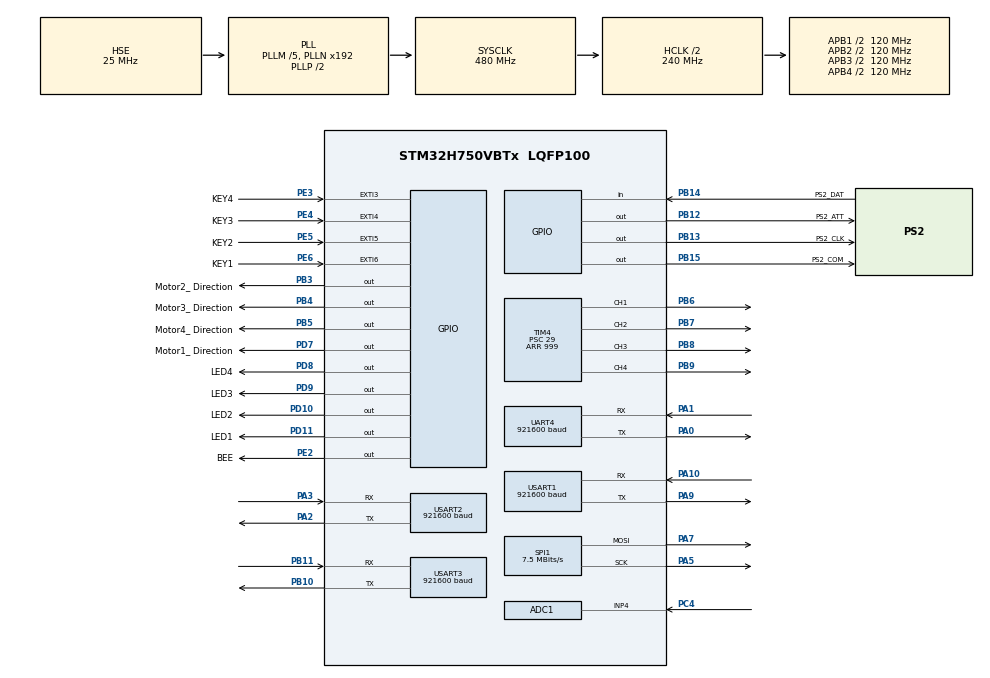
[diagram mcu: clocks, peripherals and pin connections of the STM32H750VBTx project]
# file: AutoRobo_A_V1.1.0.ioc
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ADC1.Channel-0\#ChannelRegularConversion=ADC_CHANNEL_4
ADC1.NbrOfConversionFlag=1
ADC1.OffsetNumber-0\#ChannelRegularConversion=ADC_OFFSET_NONE
ADC1.Rank-0\#ChannelRegularConversion=1
ADC1.SamplingTime-0\#ChannelRegularConversion=ADC_SAMPLETIME_1CYCLE_5
ADC1.master=1
Dma.Request0=USART2_RX
Dma.Request1=USART3_RX
Dma.Request2=USART3_TX
Dma.Request3=USART1_RX
Dma.Request4=USART1_TX
Dma.Request5=UART4_RX
Dma.UART4_RX.5.Direction=DMA_PERIPH_TO_MEMORY
Dma.UART4_RX.5.EventEnable=DISABLE
Dma.UART4_RX.5.FIFOMode=DMA_FIFOMODE_DISABLE
Dma.UART4_RX.5.Instance=DMA1_Stream2
Dma.UART4_RX.5.MemDataAlignment=DMA_MDATAALIGN_BYTE
Dma.UART4_RX.5.MemInc=DMA_MINC_ENABLE
Dma.UART4_RX.5.Mode=DMA_NORMAL
Dma.UART4_RX.5.PeriphDataAlignment=DMA_PDATAALIGN_BYTE
Dma.UART4_RX.5.PeriphInc=DMA_PINC_DISABLE
Dma.UART4_RX.5.Polarity=HAL_DMAMUX_REQ_GEN_RISING
Dma.UART4_RX.5.Priority=DMA_PRIORITY_LOW
Dma.UART4_RX.5.RequestNumber=1
Dma.UART4_RX.5.SignalID=NONE
Dma.UART4_RX.5.SyncEnable=DISABLE
Dma.UART4_RX.5.SyncPolarity=HAL_DMAMUX_SYNC_NO_EVENT
Dma.UART4_RX.5.SyncRequestNumber=1
Dma.UART4_RX.5.SyncSignalID=NONE
Dma.USART1_RX.3.Direction=DMA_PERIPH_TO_MEMORY
Dma.USART1_RX.3.EventEnable=DISABLE
Dma.USART1_RX.3.FIFOMode=DMA_FIFOMODE_DISABLE
Dma.USART1_RX.3.Instance=DMA2_Stream5
Dma.USART1_RX.3.MemDataAlignment=DMA_MDATAALIGN_BYTE
Dma.USART1_RX.3.MemInc=DMA_MINC_ENABLE
Dma.USART1_RX.3.Mode=DMA_NORMAL
Dma.USART1_RX.3.PeriphDataAlignment=DMA_PDATAALIGN_BYTE
Dma.USART1_RX.3.PeriphInc=DMA_PINC_DISABLE
Dma.USART1_RX.3.Polarity=HAL_DMAMUX_REQ_GEN_RISING
Dma.USART1_RX.3.Priority=DMA_PRIORITY_LOW
Dma.USART1_RX.3.RequestNumber=1
Dma.USART1_RX.3.SignalID=NONE
Dma.USART1_RX.3.SyncEnable=DISABLE
Dma.USART1_RX.3.SyncPolarity=HAL_DMAMUX_SYNC_NO_EVENT
Dma.USART1_RX.3.SyncRequestNumber=1
Dma.USART1_RX.3.SyncSignalID=NONE
Dma.USART1_TX.4.Direction=DMA_MEMORY_TO_PERIPH
Dma.USART1_TX.4.EventEnable=DISABLE
Dma.USART1_TX.4.FIFOMode=DMA_FIFOMODE_DISABLE
Dma.USART1_TX.4.Instance=DMA2_Stream7
Dma.USART1_TX.4.MemDataAlignment=DMA_MDATAALIGN_BYTE
Dma.USART1_TX.4.MemInc=DMA_MINC_ENABLE
Dma.USART1_TX.4.Mode=DMA_NORMAL
Dma.USART1_TX.4.PeriphDataAlignment=DMA_PDATAALIGN_BYTE
Dma.USART1_TX.4.PeriphInc=DMA_PINC_DISABLE
Dma.USART1_TX.4.Polarity=HAL_DMAMUX_REQ_GEN_RISING
Dma.USART1_TX.4.Priority=DMA_PRIORITY_LOW
Dma.USART1_TX.4.RequestNumber=1
Dma.USART1_TX.4.SignalID=NONE
Dma.USART1_TX.4.SyncEnable=DISABLE
Dma.USART1_TX.4.SyncPolarity=HAL_DMAMUX_SYNC_NO_EVENT
Dma.USART1_TX.4.SyncRequestNumber=1
Dma.USART1_TX.4.SyncSignalID=NONE
Dma.USART2_RX.0.Direction=DMA_PERIPH_TO_MEMORY
Dma.USART2_RX.0.EventEnable=DISABLE
Dma.USART2_RX.0.FIFOMode=DMA_FIFOMODE_DISABLE
Dma.USART2_RX.0.Instance=DMA1_Stream5
Dma.USART2_RX.0.MemDataAlignment=DMA_MDATAALIGN_BYTE
Dma.USART2_RX.0.MemInc=DMA_MINC_ENABLE
Dma.USART2_RX.0.Mode=DMA_NORMAL
Dma.USART2_RX.0.PeriphDataAlignment=DMA_PDATAALIGN_BYTE
Dma.USART2_RX.0.PeriphInc=DMA_PINC_DISABLE
Dma.USART2_RX.0.Polarity=HAL_DMAMUX_REQ_GEN_RISING
Dma.USART2_RX.0.Priority=DMA_PRIORITY_LOW
Dma.USART2_RX.0.RequestNumber=1
Dma.USART2_RX.0.SignalID=NONE
Dma.USART2_RX.0.SyncEnable=DISABLE
Dma.USART2_RX.0.SyncPolarity=HAL_DMAMUX_SYNC_NO_EVENT
Dma.USART2_RX.0.SyncRequestNumber=1
Dma.USART2_RX.0.SyncSignalID=NONE
Dma.USART3_RX.1.Direction=DMA_PERIPH_TO_MEMORY
Dma.USART3_RX.1.EventEnable=DISABLE
Dma.USART3_RX.1.FIFOMode=DMA_FIFOMODE_DISABLE
Dma.USART3_RX.1.Instance=DMA1_Stream1
Dma.USART3_RX.1.MemDataAlignment=DMA_MDATAALIGN_BYTE
Dma.USART3_RX.1.MemInc=DMA_MINC_ENABLE
Dma.USART3_RX.1.Mode=DMA_NORMAL
Dma.USART3_RX.1.PeriphDataAlignment=DMA_PDATAALIGN_BYTE
Dma.USART3_RX.1.PeriphInc=DMA_PINC_DISABLE
Dma.USART3_RX.1.Polarity=HAL_DMAMUX_REQ_GEN_RISING
Dma.USART3_RX.1.Priority=DMA_PRIORITY_LOW
Dma.USART3_RX.1.RequestNumber=1
Dma.USART3_RX.1.SignalID=NONE
Dma.USART3_RX.1.SyncEnable=DISABLE
Dma.USART3_RX.1.SyncPolarity=HAL_DMAMUX_SYNC_NO_EVENT
Dma.USART3_RX.1.SyncRequestNumber=1
Dma.USART3_RX.1.SyncSignalID=NONE
Dma.USART3_TX.2.Direction=DMA_MEMORY_TO_PERIPH
Dma.USART3_TX.2.EventEnable=DISABLE
Dma.USART3_TX.2.FIFOMode=DMA_FIFOMODE_DISABLE
Dma.USART3_TX.2.Instance=DMA1_Stream3
Dma.USART3_TX.2.MemDataAlignment=DMA_MDATAALIGN_BYTE
Dma.USART3_TX.2.MemInc=DMA_MINC_ENABLE
Dma.USART3_TX.2.Mode=DMA_NORMAL
Dma.USART3_TX.2.PeriphDataAlignment=DMA_PDATAALIGN_BYTE
Dma.USART3_TX.2.PeriphInc=DMA_PINC_DISABLE
Dma.USART3_TX.2.Polarity=HAL_DMAMUX_REQ_GEN_RISING
Dma.USART3_TX.2.Priority=DMA_PRIORITY_LOW
Dma.USART3_TX.2.RequestNumber=1
Dma.USART3_TX.2.SignalID=NONE
Dma.USART3_TX.2.SyncEnable=DISABLE
Dma.USART3_TX.2.SyncPolarity=HAL_DMAMUX_SYNC_NO_EVENT
Dma.USART3_TX.2.SyncRequestNumber=1
Dma.USART3_TX.2.SyncSignalID=NONE
Mcu.Family=STM32H7
Mcu.Name=STM32H750VBTx
Mcu.Package=LQFP100
NVIC.ADC_IRQn=true\:0\:0\:false\:false\:true\:true\:true
NVIC.DMA1_Stream1_IRQn=true\:0\:0\:false\:false\:true\:false\:true
NVIC.DMA1_Stream2_IRQn=true\:0\:0\:false\:false\:true\:false\:true
NVIC.DMA1_Stream3_IRQn=true\:0\:0\:false\:false\:true\:false\:true
NVIC.DMA1_Stream5_IRQn=true\:0\:0\:false\:false\:true\:false\:true
NVIC.DMA2_Stream5_IRQn=true\:0\:0\:false\:false\:true\:false\:true
NVIC.DMA2_Stream7_IRQn=true\:0\:0\:false\:false\:true\:false\:true
NVIC.EXTI3_IRQn=true\:0\:0\:false\:false\:true\:true\:true
NVIC.EXTI4_IRQn=true\:0\:0\:false\:false\:true\:true\:true
NVIC.EXTI9_5_IRQn=true\:0\:0\:false\:false\:true\:true\:true
NVIC.PriorityGroup=NVIC_PRIORITYGROUP_4
NVIC.UART4_IRQn=true\:0\:0\:false\:false\:true\:true\:true
NVIC.USART1_IRQn=true\:0\:0\:false\:false\:true\:true\:true
NVIC.USART2_IRQn=true\:1\:0\:true\:false\:true\:true\:true
NVIC.USART3_IRQn=true\:0\:0\:false\:false\:true\:true\:true
PA0.Mode=Asynchronous
PA0.Signal=UART4_TX
PA1.Mode=Asynchronous
PA1.Signal=UART4_RX
PA10.Mode=Asynchronous
PA10.Signal=USART1_RX
PA13\ (JTMS/SWDIO).Mode=Serial_Wire
PA13\ (JTMS/SWDIO).Signal=DEBUG_JTMS-SWDIO
PA14\ (JTCK/SWCLK).Mode=Serial_Wire
PA14\ (JTCK/SWCLK).Signal=DEBUG_JTCK-SWCLK
PA2.Mode=Asynchronous
PA2.Signal=USART2_TX
PA3.Mode=Asynchronous
PA3.Signal=USART2_RX
PA5.Mode=TX_Only_Simplex_Unidirect_Master
PA5.Signal=SPI1_SCK
PA7.Mode=TX_Only_Simplex_Unidirect_Master
PA7.Signal=SPI1_MOSI
PA9.Mode=Asynchronous
PA9.Signal=USART1_TX
PB10.Mode=Asynchronous
PB10.Signal=USART3_TX
PB11.Mode=Asynchronous
PB11.Signal=USART3_RX
PB12.GPIO_Label=PS2_ATT
PB12.GPIO_PuPd=GPIO_NOPULL
PB12.GPIO_Speed=GPIO_SPEED_FREQ_HIGH
PB12.PinState=GPIO_PIN_SET
PB12.Signal=GPIO_Output
PB13.GPIO_Label=PS2_CLK
PB13.GPIO_PuPd=GPIO_NOPULL
PB13.GPIO_Speed=GPIO_SPEED_FREQ_HIGH
PB13.PinState=GPIO_PIN_SET
PB13.Signal=GPIO_Output
PB14.GPIO_Label=PS2_DAT
PB14.GPIO_PuPd=GPIO_PULLDOWN
PB14.Signal=GPIO_Input
PB15.GPIO_Label=PS2_COM
PB15.GPIO_PuPd=GPIO_NOPULL
PB15.GPIO_Speed=GPIO_SPEED_FREQ_HIGH
PB15.PinState=GPIO_PIN_SET
PB15.Signal=GPIO_Output
PB3\ (JTDO/TRACESWO).GPIO_Label=Motor2_ Direction
PB3\ (JTDO/TRACESWO).GPIO_Speed=GPIO_SPEED_FREQ_HIGH
PB3\ (JTDO/TRACESWO).Signal=GPIO_Output
PB4\ (NJTRST).GPIO_Label=Motor3_ Direction
PB4\ (NJTRST).GPIO_Speed=GPIO_SPEED_FREQ_HIGH
PB4\ (NJTRST).Signal=GPIO_Output
PB5.GPIO_Label=Motor4_ Direction
PB5.GPIO_Speed=GPIO_SPEED_FREQ_HIGH
PB5.Signal=GPIO_Output
PB6.Signal=S_TIM4_CH1
PB7.Signal=S_TIM4_CH2
PB8.Signal=S_TIM4_CH3
PB9.Signal=S_TIM4_CH4
PC14-OSC32_IN\ (OSC32_IN).Mode=LSE-External-Oscillator
PC14-OSC32_IN\ (OSC32_IN).Signal=RCC_OSC32_IN
PC15-OSC32_OUT\ (OSC32_OUT).Mode=LSE-External-Oscillator
PC15-OSC32_OUT\ (OSC32_OUT).Signal=RCC_OSC32_OUT
PC4.Signal=ADCx_INP4
PD10.GPIO_Label=LED2
PD10.GPIO_Speed=GPIO_SPEED_FREQ_HIGH
PD10.PinState=GPIO_PIN_SET
PD10.Signal=GPIO_Output
PD11.GPIO_Label=LED1
PD11.GPIO_Speed=GPIO_SPEED_FREQ_HIGH
PD11.PinState=GPIO_PIN_SET
PD11.Signal=GPIO_Output
PD7.GPIO_Label=Motor1_ Direction
PD7.GPIO_Speed=GPIO_SPEED_FREQ_HIGH
PD7.Signal=GPIO_Output
PD8.GPIO_Label=LED4
PD8.GPIO_Speed=GPIO_SPEED_FREQ_HIGH
PD8.PinState=GPIO_PIN_SET
PD8.Signal=GPIO_Output
PD9.GPIO_Label=LED3
PD9.GPIO_Speed=GPIO_SPEED_FREQ_HIGH
PD9.PinState=GPIO_PIN_SET
PD9.Signal=GPIO_Output
PE2.GPIO_Label=BEE
PE2.GPIO_Speed=GPIO_SPEED_FREQ_HIGH
PE2.Signal=GPIO_Output
PE3.GPIO_Label=KEY4
PE3.GPIO_ModeDefaultEXTI=GPIO_MODE_IT_FALLING
PE3.GPIO_PuPd=GPIO_PULLUP
PE3.Signal=GPXTI3
PE4.GPIO_Label=KEY3
PE4.GPIO_ModeDefaultEXTI=GPIO_MODE_IT_FALLING
PE4.GPIO_PuPd=GPIO_PULLUP
PE4.Signal=GPXTI4
PE5.GPIO_Label=KEY2
PE5.GPIO_ModeDefaultEXTI=GPIO_MODE_IT_FALLING
PE5.GPIO_PuPd=GPIO_PULLUP
PE5.Signal=GPXTI5
PE6.GPIO_Label=KEY1
PE6.GPIO_ModeDefaultEXTI=GPIO_MODE_IT_FALLING
PE6.GPIO_PuPd=GPIO_PULLUP
PE6.Signal=GPXTI6
PH0-OSC_IN\ (PH0).Mode=HSE-External-Oscillator
PH0-OSC_IN\ (PH0).Signal=RCC_OSC_IN
PH1-OSC_OUT\ (PH1).Mode=HSE-External-Oscillator
PH1-OSC_OUT\ (PH1).Signal=RCC_OSC_OUT
ProjectManager.HeapSize=0x200
ProjectManager.StackSize=0x400
ProjectManager.TargetToolchain=STM32CubeIDE
RCC.ADCFreq_Value=30000000
RCC.APB1Freq_Value=120000000
RCC.APB2Freq_Value=120000000
RCC.APB3Freq_Value=120000000
RCC.APB4Freq_Value=120000000
RCC.CortexFreq_Value=480000000
RCC.D1PPRE=RCC_APB3_DIV2
RCC.D2PPRE1=RCC_APB1_DIV2
RCC.D2PPRE2=RCC_APB2_DIV2
RCC.D3PPRE=RCC_APB4_DIV2
RCC.DIVM1=5
RCC.DIVM2=2
RCC.DIVN1=192
RCC.DIVN2=12
RCC.DIVP2=5
RCC.DIVQ2=5
RCC.HCLKFreq_Value=240000000
RCC.HPRE=RCC_HCLK_DIV2
RCC.PLLSourceVirtual=RCC_PLLSOURCE_HSE
RCC.SYSCLKFreq_VALUE=480000000
RCC.SYSCLKSource=RCC_SYSCLKSOURCE_PLLCLK
RCC.USBFreq_Value=480000000
SH.ADCx_INP4.0=ADC1_INP4,IN4-Single-Ended
SH.S_TIM4_CH1.0=TIM4_CH1,PWM Generation1 CH1
SH.S_TIM4_CH2.0=TIM4_CH2,PWM Generation2 CH2
SH.S_TIM4_CH3.0=TIM4_CH3,PWM Generation3 CH3
SH.S_TIM4_CH4.0=TIM4_CH4,PWM Generation4 CH4
SPI1.BaudRatePrescaler=SPI_BAUDRATEPRESCALER_64
SPI1.CalculateBaudRate=7.5 MBits/s
SPI1.DataSize=SPI_DATASIZE_8BIT
SPI1.Direction=SPI_DIRECTION_2LINES_TXONLY
SPI1.Mode=SPI_MODE_MASTER
SPI1.VirtualType=VM_MASTER
TIM4.AutoReloadPreload=TIM_AUTORELOAD_PRELOAD_ENABLE
TIM4.Channel-PWM\ Generation1\ CH1=TIM_CHANNEL_1
TIM4.Channel-PWM\ Generation2\ CH2=TIM_CHANNEL_2
TIM4.Channel-PWM\ Generation3\ CH3=TIM_CHANNEL_3
TIM4.Channel-PWM\ Generation4\ CH4=TIM_CHANNEL_4
TIM4.OCPolarity_1=TIM_OCPOLARITY_HIGH
TIM4.OCPolarity_2=TIM_OCPOLARITY_HIGH
TIM4.OCPolarity_3=TIM_OCPOLARITY_HIGH
TIM4.OCPolarity_4=TIM_OCPOLARITY_HIGH
TIM4.Period=999
TIM4.Prescaler=29
TIM4.Pulse-PWM\ Generation1\ CH1=0
TIM4.Pulse-PWM\ Generation2\ CH2=0
TIM4.Pulse-PWM\ Generation3\ CH3=0
TIM4.Pulse-PWM\ Generation4\ CH4=0
UART4.BaudRate=921600
USART1.BaudRate=921600
USART1.VirtualMode-Asynchronous=VM_ASYNC
USART2.BaudRate=921600
USART2.VirtualMode-Asynchronous=VM_ASYNC
USART3.BaudRate=921600
USART3.VirtualMode-Asynchronous=VM_ASYNC
VP_TIM4_VS_ClockSourceINT.Mode=Internal
board=custom

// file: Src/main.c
/* USER CODE BEGIN Header */
/**
  ******************************************************************************
  * @file           : main.c
  * @brief          : Main program body
  ******************************************************************************
  * @attention
  *
  * <h2><center>&copy; Copyright (c) 2020 STMicroelectronics.
  * All rights reserved.</center></h2>
  *
  * This software component is licensed by ST under BSD 3-Clause license,
  * the "License"; You may not use this file except in compliance with the
  * License. You may obtain a copy of the License at:
  *                        opensource.org/licenses/BSD-3-Clause
  *
  ******************************************************************************
  */
/* USER CODE END Header */

#include "main.h"
#include "adc.h"
#include "dma.h"
#include "spi.h"
#include "tim.h"
#include "usart.h"
#include "gpio.h"

void SystemClock_Config(void);

/* USER CODE BEGIN 0 */

/************************************************
函数名称 ： User_Init
函数功能 ： 用户代码初始化
参    数 ： 无
返 回 值 ： 无
*************************************************/
void User_Init(void)
{
	PID_Init();                                         //PID参数初始化
	Ws2812b_Init();			                                //RGB灯条初始化

	HAL_ADCEx_Calibration_Start(&hadc1, ADC_CALIB_OFFSET, ADC_SINGLE_ENDED);//AD校准
	HAL_ADC_Start_IT(&hadc1);                           //使能ADC1中断

	HAL_TIM_PWM_Start(&htim4,TIM_CHANNEL_1);            //使能TIM4 通道1 PWM输出
	HAL_TIM_PWM_Start(&htim4,TIM_CHANNEL_2);            //使能TIM4 通道2 PWM输出
	HAL_TIM_PWM_Start(&htim4,TIM_CHANNEL_3);            //使能TIM4 通道3 PWM输出
	HAL_TIM_PWM_Start(&htim4,TIM_CHANNEL_4);            //使能TIM4 通道4 PWM输出

	HAL_UART_Receive_DMA(&huart1,u_rx_buf_1,sizeof(u_rx_buf_1));//开启DMA传输
	__HAL_UART_ENABLE_IT(&huart1,UART_IT_IDLE);         //开启uart1串口空闲中断

	HAL_UART_Receive_DMA(&huart2,u_rx_buf_2,sizeof(u_rx_buf_2));//开启DMA传输
	__HAL_UART_ENABLE_IT(&huart2,UART_IT_IDLE);         //开启uart2串口空闲中断

	HAL_UART_Receive_DMA(&huart3,u_rx_buf_3,sizeof(u_rx_buf_3));//开启DMA传输
	__HAL_UART_ENABLE_IT(&huart3,UART_IT_IDLE);         //开启uart3串口空闲中断

	HAL_UART_Receive_DMA(&huart4,u_rx_buf_4,sizeof(u_rx_buf_4));//开启DMA传输
	__HAL_UART_ENABLE_IT(&huart4,UART_IT_IDLE);         //开启uart4串口空闲中断
}

/* USER CODE END 0 */

int main(void)
{

  /* MCU Configuration--------------------------------------------------------*/

  /* Reset of all peripherals, Initializes the Flash interface and the Systick. */
  HAL_Init();

  /* Configure the system clock */
  SystemClock_Config();

  /* Initialize all configured peripherals */
  MX_DMA_Init();
  MX_GPIO_Init();
  MX_TIM4_Init();
  MX_USART2_UART_Init();
  MX_ADC1_Init();
  MX_SPI1_Init();
  MX_UART4_Init();
  MX_USART1_UART_Init();
  MX_USART3_UART_Init();
  /* USER CODE BEGIN 2 */
	User_Init();                                                                    //用户初始化代码

  /* USER CODE END 2 */

  /* Infinite loop */
  while (1)
  {

    /* USER CODE BEGIN 3 */

		/*PS2读取函数 开始*/
		PS2_Application();			                                                      //调用PS2读取函数
		/*PS2读取函数 结束*/

		/*读取AOA测量值实现跟随控制 开始*/
		if(AOA_DMA_receive_flag == 1)                                                 //如果DMA接收了一帧uart2数据，执行频率与AOA刷新频率一致，默认50Hz
		{
			AOA_Application();                                                          //调用AOA应用函数
			AOA_DMA_receive_flag=0;                                                     //清除标志位
		}
		/*读取AOA测量值实现跟随控制 结束*/

		/*读取TOFSense测量值 开始*/
		if(TOF_DMA_receive_flag == 1)                                                 //如果DMA接收了一帧uart3数据，执行频率约为200Hz
		{
			TOF_Application();                                                          //调用TOFSense应用函数
			TOF_DMA_receive_flag=0;                                                     //清除标志位
		}
		/*读取TOFSense测量值 结束*/

		/*读取LinkTrack测量值 开始*/
		if(LT_DMA_receive_flag == 1)                                                  //如果DMA接收了一帧uart1数据，无数传帧情况下执行频率与LT刷新频率一致，默认50Hz
		{
			LT_Application();                                                           //调用LinkTrack应用函数
			LT_DMA_receive_flag=0;                                                      //清除标志位
		}
		/*读取LinkTrack测量值 结束*/

		/*读取外置9轴IMU测量值 开始*/
		if(WTIMU_DMA_receive_flag == 1)                                               //如果DMA接收了一帧uart4数据，执行频率与外置IMU刷新频率一致
		{
			WTIMU_Application();                                                        //调用外置9轴IMU应用函数
			WTIMU_DMA_receive_flag=0;                                                   //清除标志位
		}
		/*读取外置9轴IMU测量值 结束*/

		/*RGB灯条控制 开始*/
		RGB_Show(mode_selection);	                                                    //RGB灯条显示
		/*RGB灯条控制 结束*/

		/*电池低电压检测报警 开始*/
		Battery_Low_Voltage_Warning();                                                //电池低电压控制蜂鸣器报警防止过放
		/*电池低电压检测报警 结束*/

  }
  /* USER CODE END 3 */
}

void SystemClock_Config(void)
{
  RCC_OscInitTypeDef RCC_OscInitStruct = {0};
  RCC_ClkInitTypeDef RCC_ClkInitStruct = {0};
  RCC_PeriphCLKInitTypeDef PeriphClkInitStruct = {0};

  /** Supply configuration update enable
  */
  HAL_PWREx_ConfigSupply(PWR_LDO_SUPPLY);
  /** Configure the main internal regulator output voltage
  */
  __HAL_PWR_VOLTAGESCALING_CONFIG(PWR_REGULATOR_VOLTAGE_SCALE0);

  while(!__HAL_PWR_GET_FLAG(PWR_FLAG_VOSRDY)) {}
  /** Macro to configure the PLL clock source
  */
  __HAL_RCC_PLL_PLLSOURCE_CONFIG(RCC_PLLSOURCE_HSE);
  /** Initializes the CPU, AHB and APB busses clocks
  */
  RCC_OscInitStruct.OscillatorType = RCC_OSCILLATORTYPE_HSE;
  RCC_OscInitStruct.HSEState = RCC_HSE_ON;
  RCC_OscInitStruct.PLL.PLLState = RCC_PLL_ON;
  RCC_OscInitStruct.PLL.PLLSource = RCC_PLLSOURCE_HSE;
  RCC_OscInitStruct.PLL.PLLM = 5;
  RCC_OscInitStruct.PLL.PLLN = 192;
  RCC_OscInitStruct.PLL.PLLP = 2;
  RCC_OscInitStruct.PLL.PLLQ = 2;
  RCC_OscInitStruct.PLL.PLLR = 2;
  RCC_OscInitStruct.PLL.PLLRGE = RCC_PLL1VCIRANGE_2;
  RCC_OscInitStruct.PLL.PLLVCOSEL = RCC_PLL1VCOWIDE;
  RCC_OscInitStruct.PLL.PLLFRACN = 0;
  if (HAL_RCC_OscConfig(&RCC_OscInitStruct) != HAL_OK)
  {
    Error_Handler();
  }
  /** Initializes the CPU, AHB and APB busses clocks
  */
  RCC_ClkInitStruct.ClockType = RCC_CLOCKTYPE_HCLK|RCC_CLOCKTYPE_SYSCLK
                              |RCC_CLOCKTYPE_PCLK1|RCC_CLOCKTYPE_PCLK2
                              |RCC_CLOCKTYPE_D3PCLK1|RCC_CLOCKTYPE_D1PCLK1;
  RCC_ClkInitStruct.SYSCLKSource = RCC_SYSCLKSOURCE_PLLCLK;
  RCC_ClkInitStruct.SYSCLKDivider = RCC_SYSCLK_DIV1;
  RCC_ClkInitStruct.AHBCLKDivider = RCC_HCLK_DIV2;
  RCC_ClkInitStruct.APB3CLKDivider = RCC_APB3_DIV2;
  RCC_ClkInitStruct.APB1CLKDivider = RCC_APB1_DIV2;
  RCC_ClkInitStruct.APB2CLKDivider = RCC_APB2_DIV2;
  RCC_ClkInitStruct.APB4CLKDivider = RCC_APB4_DIV2;

  if (HAL_RCC_ClockConfig(&RCC_ClkInitStruct, FLASH_LATENCY_4) != HAL_OK)
  {
    Error_Handler();
  }
  PeriphClkInitStruct.PeriphClockSelection = RCC_PERIPHCLK_USART3|RCC_PERIPHCLK_USART2
                              |RCC_PERIPHCLK_UART4|RCC_PERIPHCLK_USART1
                              |RCC_PERIPHCLK_SPI1|RCC_PERIPHCLK_ADC;
  PeriphClkInitStruct.PLL2.PLL2M = 2;
  PeriphClkInitStruct.PLL2.PLL2N = 12;
  PeriphClkInitStruct.PLL2.PLL2P = 5;
  PeriphClkInitStruct.PLL2.PLL2Q = 5;
  PeriphClkInitStruct.PLL2.PLL2R = 2;
  PeriphClkInitStruct.PLL2.PLL2RGE = RCC_PLL2VCIRANGE_3;
  PeriphClkInitStruct.PLL2.PLL2VCOSEL = RCC_PLL2VCOMEDIUM;
  PeriphClkInitStruct.PLL2.PLL2FRACN = 0;
  PeriphClkInitStruct.Spi123ClockSelection = RCC_SPI123CLKSOURCE_PLL;
  PeriphClkInitStruct.Usart234578ClockSelection = RCC_USART234578CLKSOURCE_D2PCLK1;
  PeriphClkInitStruct.Usart16ClockSelection = RCC_USART16CLKSOURCE_D2PCLK2;
  PeriphClkInitStruct.AdcClockSelection = RCC_ADCCLKSOURCE_PLL2;
  if (HAL_RCCEx_PeriphCLKConfig(&PeriphClkInitStruct) != HAL_OK)
  {
    Error_Handler();
  }
}

void Error_Handler(void)
{
}

/************************ (C) COPYRIGHT STMicroelectronics *****END OF FILE****/
